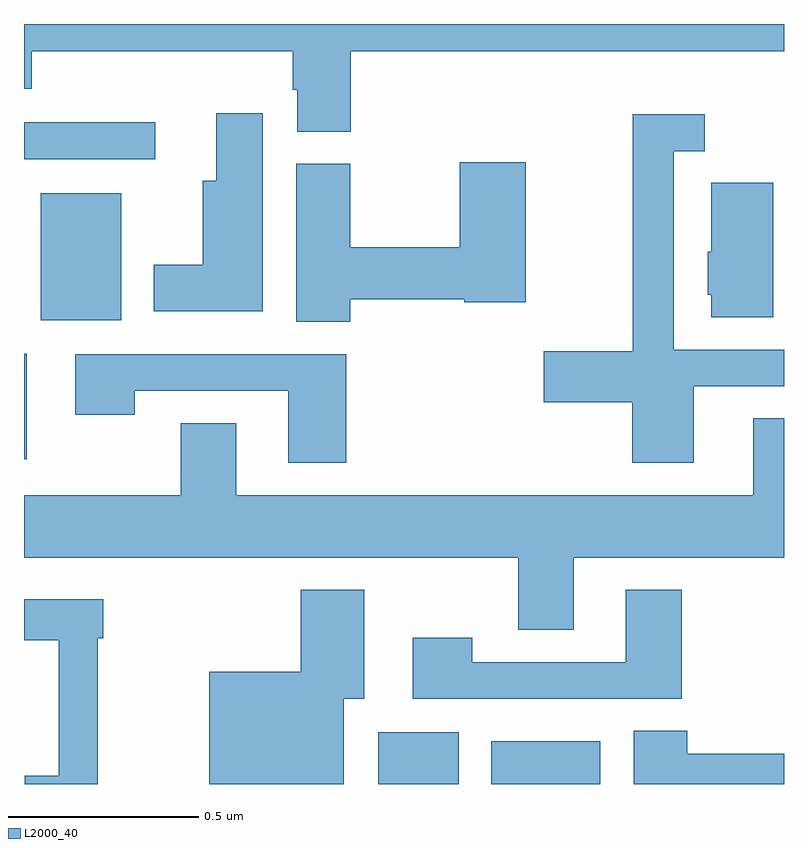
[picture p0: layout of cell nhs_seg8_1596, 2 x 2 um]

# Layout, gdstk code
import gdstk
lib = gdstk.Library(unit=1e-6, precision=1e-09)
def R(c, l, rs):  # rectangles x0, y0, x1, y1
    for r in rs: c.add(gdstk.rectangle(r[:2], r[2:], *l))
def P(c, l, *ps):  # polygons
    for p in ps: c.add(gdstk.Polygon(p, *l))
L2000_40 = (2000, 40)

nhs_seg8_1596 = lib.new_cell('nhs_seg8_1596')
R(nhs_seg8_1596, L2000_40, [(132.932,1119.9,133.144,1120.036), (133.229,1119.9,133.516,1120.012), (132,1120.754,132.007,1121.032), (132.044,1121.12,132.256,1121.455), (132,1121.544,132.346,1121.642)])
P(nhs_seg8_1596, L2000_40, [(132.86,1121.828),(134,1121.828),(134,1121.9),(132,1121.9),(132,1121.729),(132.02,1121.729),(132.02,1121.828),(132.707,1121.828),(132.707,1121.727),(132.719,1121.727),(132.719,1121.617),(132.86,1121.617)],
  [(132.628,1121.665),(132.506,1121.665),(132.506,1121.488),(132.47,1121.488),(132.47,1121.266),(132.341,1121.266),(132.341,1121.144),(132.628,1121.144)],
  [(133.762,1120.947),(134,1120.947),(134,1121.043),(133.71,1121.043),(133.71,1121.565),(133.792,1121.565),(133.792,1121.662),(133.602,1121.662),(133.602,1121.039),(133.368,1121.039),(133.368,1120.904),(133.601,1120.904),(133.601,1120.746),(133.762,1120.746)],
  [(132.858,1121.176),(133.158,1121.176),(133.158,1121.168),(133.32,1121.168),(133.32,1121.536),(133.147,1121.536),(133.147,1121.312),(132.858,1121.312),(132.858,1121.532),(132.716,1121.532),(132.716,1121.116),(132.858,1121.116)],
  [(133.972,1121.482),(133.808,1121.482),(133.808,1121.301),(133.799,1121.301),(133.799,1121.187),(133.808,1121.187),(133.808,1121.128),(133.972,1121.128)],
  [(132.848,1121.031),(132.135,1121.031),(132.135,1120.872),(132.291,1120.872),(132.291,1120.935),(132.695,1120.935),(132.695,1120.746),(132.848,1120.746)],
  [(133.447,1120.496),(134,1120.496),(134,1120.862),(133.919,1120.862),(133.919,1120.66),(132.559,1120.66),(132.559,1120.85),(132.412,1120.85),(132.412,1120.66),(132,1120.66),(132,1120.496),(133.3,1120.496),(133.3,1120.306),(133.447,1120.306)],
  [(132.841,1120.124),(132.895,1120.124),(132.895,1120.411),(132.728,1120.411),(132.728,1120.195),(132.488,1120.195),(132.488,1119.9),(132.841,1119.9)],
  [(133.731,1120.411),(133.583,1120.411),(133.583,1120.221),(133.179,1120.221),(133.179,1120.285),(133.023,1120.285),(133.023,1120.125),(133.731,1120.125)],
  [(132.194,1120.283),(132.209,1120.283),(132.209,1120.386),(132,1120.386),(132,1120.278),(132.092,1120.278),(132.092,1119.922),(132.002,1119.922),(132.002,1119.9),(132.194,1119.9)],
  [(134,1119.98),(133.746,1119.98),(133.746,1120.04),(133.604,1120.04),(133.604,1119.9),(134,1119.9)])

lib.write_gds('nhs_seg8_1596.gds')
